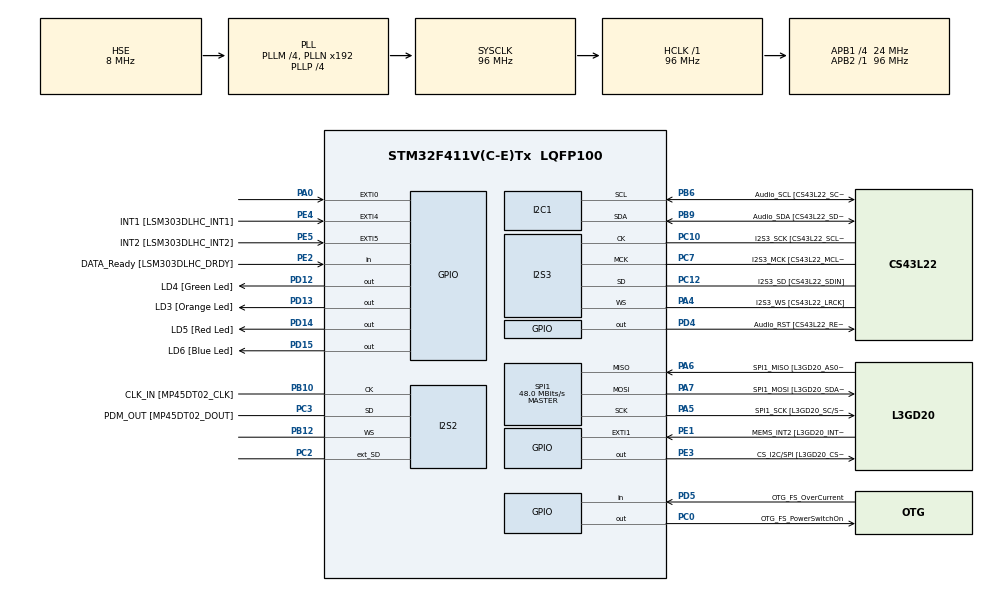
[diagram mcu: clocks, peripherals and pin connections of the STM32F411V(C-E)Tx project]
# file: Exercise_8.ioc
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FREERTOS.BinarySemaphores01=CriticalResourceSemaphore,Dynamic,NULL
FREERTOS.Tasks01=GreenLED_Task,0,128,Start_GreenLED_Task,Default,NULL,Dynamic,NULL,NULL;RedLED_Task,0,128,Start_RedLED_Task,Default,NULL,Dynamic,NULL,NULL;OrangeLED_Task,1,128,Start_OrangeLED_Task,Default,NULL,Dynamic,NULL,NULL
I2S2.AudioFreq=I2S_AUDIOFREQ_96K
I2S2.ErrorAudioFreq=0.15 %
I2S2.FullDuplexMode=I2S_FULLDUPLEXMODE_ENABLE
I2S2.Instance=SPI$Index
I2S2.RealAudioFreq=96.153 KHz
I2S2.VirtualMode=I2S_MODE_MASTER
I2S3.AudioFreq=I2S_AUDIOFREQ_96K
I2S3.ErrorAudioFreq=-6.99 %
I2S3.FullDuplexMode=I2S_FULLDUPLEXMODE_DISABLE
I2S3.Instance=SPI$Index
I2S3.RealAudioFreq=89.285 KHz
I2S3.VirtualMode=I2S_MODE_MASTER
Mcu.Family=STM32F4
Mcu.Name=STM32F411V(C-E)Tx
Mcu.Package=LQFP100
NVIC.PriorityGroup=NVIC_PRIORITYGROUP_4
NVIC.TIM1_UP_TIM10_IRQn=true\:0\:0\:false\:false\:true\:false\:false\:true
NVIC.TimeBase=TIM1_UP_TIM10_IRQn
NVIC.TimeBaseIP=TIM1
PA0-WKUP.GPIO_ModeDefaultEXTI=GPIO_MODE_EVT_RISING
PA0-WKUP.Signal=GPXTI0
PA10.GPIO_Label=OTG_FS_ID
PA10.Signal=USB_OTG_FS_ID
PA11.GPIO_Label=OTG_FS_DM
PA11.Signal=USB_OTG_FS_DM
PA12.GPIO_Label=OTG_FS_DP
PA12.Signal=USB_OTG_FS_DP
PA13.GPIO_Label=SWDIO
PA13.Mode=Serial_Wire
PA13.Signal=SYS_JTMS-SWDIO
PA14.GPIO_Label=SWCLK
PA14.Mode=Serial_Wire
PA14.Signal=SYS_JTCK-SWCLK
PA4.GPIO_Label=I2S3_WS [CS43L22_LRCK]
PA4.GPIO_Mode=GPIO_MODE_AF_PP
PA4.GPIO_PuPd=GPIO_NOPULL
PA4.GPIO_Speed=GPIO_SPEED_FREQ_LOW
PA4.Mode=Half_Duplex_Master
PA4.Signal=I2S3_WS
PA5.GPIO_Label=SPI1_SCK [L3GD20_SC/SPC]
PA5.Mode=Full_Duplex_Master
PA5.Signal=SPI1_SCK
PA6.GPIO_Label=SPI1_MISO [L3GD20_AS0/SDO]
PA6.Mode=Full_Duplex_Master
PA6.Signal=SPI1_MISO
PA7.GPIO_Label=SPI1_MOSI [L3GD20_SDA/SDI/SDO]
PA7.Mode=Full_Duplex_Master
PA7.Signal=SPI1_MOSI
PA9.GPIO_Label=VBUS_FS
PA9.Signal=USB_OTG_FS_VBUS
PB10.GPIO_Label=CLK_IN [MP45DT02_CLK]
PB10.Mode=Full_Duplex_Master
PB10.Signal=I2S2_CK
PB12.Mode=Full_Duplex_Master
PB12.Signal=I2S2_WS
PB3.GPIO_Label=SWO
PB3.Signal=SYS_JTDO-SWO
PB6.GPIO_Label=Audio_SCL [CS43L22_SCL]
PB6.GPIO_Mode=GPIO_MODE_AF_OD
PB6.GPIO_PuPd=GPIO_NOPULL
PB6.GPIO_Speed=GPIO_SPEED_FREQ_LOW
PB6.Mode=I2C
PB6.Signal=I2C1_SCL
PB9.GPIO_Label=Audio_SDA [CS43L22_SDA]
PB9.GPIO_Mode=GPIO_MODE_AF_OD
PB9.GPIO_PuPd=GPIO_NOPULL
PB9.GPIO_Speed=GPIO_SPEED_FREQ_LOW
PB9.Mode=I2C
PB9.Signal=I2C1_SDA
PC0.GPIO_Label=OTG_FS_PowerSwitchOn
PC0.PinState=GPIO_PIN_SET
PC0.Signal=GPIO_Output
PC10.GPIO_Label=I2S3_SCK [CS43L22_SCLK]
PC10.GPIO_Mode=GPIO_MODE_AF_PP
PC10.GPIO_PuPd=GPIO_NOPULL
PC10.GPIO_Speed=GPIO_SPEED_FREQ_LOW
PC10.Mode=Half_Duplex_Master
PC10.Signal=I2S3_CK
PC12.GPIO_Label=I2S3_SD [CS43L22_SDIN]
PC12.GPIO_Mode=GPIO_MODE_AF_PP
PC12.GPIO_PuPd=GPIO_NOPULL
PC12.GPIO_Speed=GPIO_SPEED_FREQ_LOW
PC12.Mode=Half_Duplex_Master
PC12.Signal=I2S3_SD
PC14-OSC32_IN.GPIO_Label=PC14-OSC32_IN
PC14-OSC32_IN.Mode=LSE-External-Oscillator
PC14-OSC32_IN.Signal=RCC_OSC32_IN
PC15-OSC32_OUT.GPIO_Label=PC15-OSC32_OUT
PC15-OSC32_OUT.Mode=LSE-External-Oscillator
PC15-OSC32_OUT.Signal=RCC_OSC32_OUT
PC2.Mode=Full_Duplex_Master
PC2.Signal=I2S2_ext_SD
PC3.GPIO_Label=PDM_OUT [MP45DT02_DOUT]
PC3.Mode=Full_Duplex_Master
PC3.Signal=I2S2_SD
PC7.GPIO_Label=I2S3_MCK [CS43L22_MCLK]
PC7.GPIO_Mode=GPIO_MODE_AF_PP
PC7.GPIO_PuPd=GPIO_NOPULL
PC7.GPIO_Speed=GPIO_SPEED_FREQ_LOW
PC7.Mode=Master_Clock_Activated
PC7.Signal=I2S3_MCK
PD12.GPIO_Label=LD4 [Green Led]
PD12.GPIO_PuPd=GPIO_NOPULL
PD12.GPIO_Speed=GPIO_SPEED_FREQ_LOW
PD12.Signal=GPIO_Output
PD13.GPIO_Label=LD3 [Orange Led]
PD13.GPIO_PuPd=GPIO_NOPULL
PD13.GPIO_Speed=GPIO_SPEED_FREQ_LOW
PD13.Signal=GPIO_Output
PD14.GPIO_Label=LD5 [Red Led]
PD14.GPIO_PuPd=GPIO_NOPULL
PD14.GPIO_Speed=GPIO_SPEED_FREQ_LOW
PD14.Signal=GPIO_Output
PD15.GPIO_Label=LD6 [Blue Led]
PD15.GPIO_PuPd=GPIO_NOPULL
PD15.GPIO_Speed=GPIO_SPEED_FREQ_LOW
PD15.Signal=GPIO_Output
PD4.GPIO_Label=Audio_RST [CS43L22_RESET]
PD4.Signal=GPIO_Output
PD5.GPIO_Label=OTG_FS_OverCurrent
PD5.Signal=GPIO_Input
PE1.GPIO_Label=MEMS_INT2 [L3GD20_INT2]
PE1.GPIO_ModeDefaultEXTI=GPIO_MODE_EVT_RISING
PE1.Signal=GPXTI1
PE2.GPIO_Label=DATA_Ready [LSM303DLHC_DRDY]
PE2.Signal=GPIO_Input
PE3.GPIO_Label=CS_I2C/SPI [L3GD20_CS_I2C/SPI]
PE3.Signal=GPIO_Output
PE4.GPIO_Label=INT1 [LSM303DLHC_INT1]
PE4.GPIO_ModeDefaultEXTI=GPIO_MODE_EVT_RISING
PE4.Signal=GPXTI4
PE5.GPIO_Label=INT2 [LSM303DLHC_INT2]
PE5.GPIO_ModeDefaultEXTI=GPIO_MODE_EVT_RISING
PE5.Signal=GPXTI5
PH0\ -\ OSC_IN.GPIO_Label=PH0-OSC_IN
PH0\ -\ OSC_IN.Mode=HSE-External-Clock-Source
PH0\ -\ OSC_IN.Signal=RCC_OSC_IN
PH1\ -\ OSC_OUT.GPIO_Label=PH1-OSC_OUT
PH1\ -\ OSC_OUT.Mode=HSE-External-Clock-Source
PH1\ -\ OSC_OUT.Signal=RCC_OSC_OUT
ProjectManager.HeapSize=0x200
ProjectManager.StackSize=0x400
ProjectManager.TargetToolchain=STM32CubeIDE
RCC.48MHZClocksFreq_Value=48000000
RCC.AHBFreq_Value=96000000
RCC.APB1CLKDivider=RCC_HCLK_DIV4
RCC.APB1Freq_Value=24000000
RCC.APB1TimFreq_Value=48000000
RCC.APB2Freq_Value=96000000
RCC.APB2TimFreq_Value=96000000
RCC.CortexFreq_Value=96000000
RCC.HCLKFreq_Value=96000000
RCC.HSE_VALUE=8000000
RCC.HSI_VALUE=16000000
RCC.PLLI2SM=5
RCC.PLLI2SN=200
RCC.PLLM=4
RCC.PLLP=RCC_PLLP_DIV4
RCC.PLLQ=8
RCC.PLLSourceVirtual=RCC_PLLSOURCE_HSE
RCC.SYSCLKFreq_VALUE=96000000
RCC.SYSCLKSource=RCC_SYSCLKSOURCE_PLLCLK
RCC.VCOOutputFreq_Value=384000000
SPI1.BaudRatePrescaler=SPI_BAUDRATEPRESCALER_2
SPI1.CalculateBaudRate=48.0 MBits/s
SPI1.Direction=SPI_DIRECTION_2LINES
SPI1.Mode=SPI_MODE_MASTER
SPI1.VirtualType=VM_MASTER
VP_FREERTOS_VS_CMSIS_V1.Mode=CMSIS_V1
VP_SYS_VS_tim1.Mode=TIM1
board=STM32F411E-DISCO

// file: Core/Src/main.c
/* USER CODE BEGIN Header */
/**
  ******************************************************************************
  * @file           : main.c
  * @brief          : Main program body
  ******************************************************************************
  * @attention
  *
  * <h2><center>&copy; Copyright (c) 2023 STMicroelectronics.
  * All rights reserved.</center></h2>
  *
  * This software component is licensed by ST under Ultimate Liberty license
  * SLA0044, the "License"; You may not use this file except in compliance with
  * the License. You may obtain a copy of the License at:
  *                             www.st.com/SLA0044
  *
  ******************************************************************************
  */
/* USER CODE END Header */

#include "main.h"
#include "cmsis_os.h"

/* USER CODE BEGIN PD */
#define green GPIO_PIN_12
#define orange GPIO_PIN_13
#define red GPIO_PIN_14
#define blue GPIO_PIN_15
/* USER CODE END PD */

I2C_HandleTypeDef hi2c1;

I2S_HandleTypeDef hi2s2;
I2S_HandleTypeDef hi2s3;

SPI_HandleTypeDef hspi1;

osThreadId GreenLED_TaskHandle;
osThreadId RedLED_TaskHandle;
osThreadId OrangeLED_TaskHandle;
osSemaphoreId CriticalResourceSemaphoreHandle;
/* USER CODE BEGIN PV */
int Start_Flag = 1;
/* USER CODE END PV */

void SystemClock_Config(void);
static void MX_GPIO_Init(void);
static void MX_I2C1_Init(void);
static void MX_I2S2_Init(void);
static void MX_I2S3_Init(void);
static void MX_SPI1_Init(void);
void Start_GreenLED_Task(void const * argument);
void Start_RedLED_Task(void const * argument);
void Start_OrangeLED_Task(void const * argument);

int main(void)
{

  /* MCU Configuration--------------------------------------------------------*/

  /* Reset of all peripherals, Initializes the Flash interface and the Systick. */
  HAL_Init();

  /* Configure the system clock */
  SystemClock_Config();

  /* Initialize all configured peripherals */
  MX_GPIO_Init();
  MX_I2C1_Init();
  MX_I2S2_Init();
  MX_I2S3_Init();
  MX_SPI1_Init();

  /* Create the semaphores(s) */
  /* definition and creation of CriticalResourceSemaphore */
  osSemaphoreDef(CriticalResourceSemaphore);
  CriticalResourceSemaphoreHandle = osSemaphoreCreate(osSemaphore(CriticalResourceSemaphore), 1);

  /* Create the thread(s) */
  /* definition and creation of GreenLED_Task */
  osThreadDef(GreenLED_Task, Start_GreenLED_Task, osPriorityNormal, 0, 128);
  GreenLED_TaskHandle = osThreadCreate(osThread(GreenLED_Task), NULL);

  /* definition and creation of RedLED_Task */
  osThreadDef(RedLED_Task, Start_RedLED_Task, osPriorityNormal, 0, 128);
  RedLED_TaskHandle = osThreadCreate(osThread(RedLED_Task), NULL);

  /* definition and creation of OrangeLED_Task */
  osThreadDef(OrangeLED_Task, Start_OrangeLED_Task, osPriorityAboveNormal, 0, 128);
  OrangeLED_TaskHandle = osThreadCreate(osThread(OrangeLED_Task), NULL);

  /* Start scheduler */
  osKernelStart();

  /* We should never get here as control is now taken by the scheduler */

  /* Infinite loop */
  while (1)
  {

  }
}

void SystemClock_Config(void)
{
  RCC_OscInitTypeDef RCC_OscInitStruct = {0};
  RCC_ClkInitTypeDef RCC_ClkInitStruct = {0};
  RCC_PeriphCLKInitTypeDef PeriphClkInitStruct = {0};

  /** Configure the main internal regulator output voltage
  */
  __HAL_RCC_PWR_CLK_ENABLE();
  __HAL_PWR_VOLTAGESCALING_CONFIG(PWR_REGULATOR_VOLTAGE_SCALE1);
  /** Initializes the CPU, AHB and APB busses clocks
  */
  RCC_OscInitStruct.OscillatorType = RCC_OSCILLATORTYPE_HSE;
  RCC_OscInitStruct.HSEState = RCC_HSE_BYPASS;
  RCC_OscInitStruct.PLL.PLLState = RCC_PLL_ON;
  RCC_OscInitStruct.PLL.PLLSource = RCC_PLLSOURCE_HSE;
  RCC_OscInitStruct.PLL.PLLM = 4;
  RCC_OscInitStruct.PLL.PLLN = 192;
  RCC_OscInitStruct.PLL.PLLP = RCC_PLLP_DIV4;
  RCC_OscInitStruct.PLL.PLLQ = 8;
  if (HAL_RCC_OscConfig(&RCC_OscInitStruct) != HAL_OK)
  {
    Error_Handler();
  }
  /** Initializes the CPU, AHB and APB busses clocks
  */
  RCC_ClkInitStruct.ClockType = RCC_CLOCKTYPE_HCLK|RCC_CLOCKTYPE_SYSCLK
                              |RCC_CLOCKTYPE_PCLK1|RCC_CLOCKTYPE_PCLK2;
  RCC_ClkInitStruct.SYSCLKSource = RCC_SYSCLKSOURCE_PLLCLK;
  RCC_ClkInitStruct.AHBCLKDivider = RCC_SYSCLK_DIV1;
  RCC_ClkInitStruct.APB1CLKDivider = RCC_HCLK_DIV4;
  RCC_ClkInitStruct.APB2CLKDivider = RCC_HCLK_DIV1;

  if (HAL_RCC_ClockConfig(&RCC_ClkInitStruct, FLASH_LATENCY_3) != HAL_OK)
  {
    Error_Handler();
  }
  PeriphClkInitStruct.PeriphClockSelection = RCC_PERIPHCLK_I2S;
  PeriphClkInitStruct.PLLI2S.PLLI2SN = 200;
  PeriphClkInitStruct.PLLI2S.PLLI2SM = 5;
  PeriphClkInitStruct.PLLI2S.PLLI2SR = 2;
  if (HAL_RCCEx_PeriphCLKConfig(&PeriphClkInitStruct) != HAL_OK)
  {
    Error_Handler();
  }
}

static void MX_I2C1_Init(void)
{

  hi2c1.Instance = I2C1;
  hi2c1.Init.ClockSpeed = 100000;
  hi2c1.Init.DutyCycle = I2C_DUTYCYCLE_2;
  hi2c1.Init.OwnAddress1 = 0;
  hi2c1.Init.AddressingMode = I2C_ADDRESSINGMODE_7BIT;
  hi2c1.Init.DualAddressMode = I2C_DUALADDRESS_DISABLE;
  hi2c1.Init.OwnAddress2 = 0;
  hi2c1.Init.GeneralCallMode = I2C_GENERALCALL_DISABLE;
  hi2c1.Init.NoStretchMode = I2C_NOSTRETCH_DISABLE;
  if (HAL_I2C_Init(&hi2c1) != HAL_OK)
  {
    Error_Handler();
  }

}

static void MX_I2S2_Init(void)
{

  hi2s2.Instance = SPI2;
  hi2s2.Init.Mode = I2S_MODE_MASTER_TX;
  hi2s2.Init.Standard = I2S_STANDARD_PHILIPS;
  hi2s2.Init.DataFormat = I2S_DATAFORMAT_16B;
  hi2s2.Init.MCLKOutput = I2S_MCLKOUTPUT_DISABLE;
  hi2s2.Init.AudioFreq = I2S_AUDIOFREQ_96K;
  hi2s2.Init.CPOL = I2S_CPOL_LOW;
  hi2s2.Init.ClockSource = I2S_CLOCK_PLL;
  hi2s2.Init.FullDuplexMode = I2S_FULLDUPLEXMODE_ENABLE;
  if (HAL_I2S_Init(&hi2s2) != HAL_OK)
  {
    Error_Handler();
  }

}

static void MX_I2S3_Init(void)
{

  hi2s3.Instance = SPI3;
  hi2s3.Init.Mode = I2S_MODE_MASTER_TX;
  hi2s3.Init.Standard = I2S_STANDARD_PHILIPS;
  hi2s3.Init.DataFormat = I2S_DATAFORMAT_16B;
  hi2s3.Init.MCLKOutput = I2S_MCLKOUTPUT_ENABLE;
  hi2s3.Init.AudioFreq = I2S_AUDIOFREQ_96K;
  hi2s3.Init.CPOL = I2S_CPOL_LOW;
  hi2s3.Init.ClockSource = I2S_CLOCK_PLL;
  hi2s3.Init.FullDuplexMode = I2S_FULLDUPLEXMODE_DISABLE;
  if (HAL_I2S_Init(&hi2s3) != HAL_OK)
  {
    Error_Handler();
  }

}

static void MX_SPI1_Init(void)
{

  /* SPI1 parameter configuration*/
  hspi1.Instance = SPI1;
  hspi1.Init.Mode = SPI_MODE_MASTER;
  hspi1.Init.Direction = SPI_DIRECTION_2LINES;
  hspi1.Init.DataSize = SPI_DATASIZE_8BIT;
  hspi1.Init.CLKPolarity = SPI_POLARITY_LOW;
  hspi1.Init.CLKPhase = SPI_PHASE_1EDGE;
  hspi1.Init.NSS = SPI_NSS_SOFT;
  hspi1.Init.BaudRatePrescaler = SPI_BAUDRATEPRESCALER_2;
  hspi1.Init.FirstBit = SPI_FIRSTBIT_MSB;
  hspi1.Init.TIMode = SPI_TIMODE_DISABLE;
  hspi1.Init.CRCCalculation = SPI_CRCCALCULATION_DISABLE;
  hspi1.Init.CRCPolynomial = 10;
  if (HAL_SPI_Init(&hspi1) != HAL_OK)
  {
    Error_Handler();
  }

}

static void MX_GPIO_Init(void)
{
  GPIO_InitTypeDef GPIO_InitStruct = {0};

  /* GPIO Ports Clock Enable */
  __HAL_RCC_GPIOE_CLK_ENABLE();
  __HAL_RCC_GPIOC_CLK_ENABLE();
  __HAL_RCC_GPIOH_CLK_ENABLE();
  __HAL_RCC_GPIOA_CLK_ENABLE();
  __HAL_RCC_GPIOB_CLK_ENABLE();
  __HAL_RCC_GPIOD_CLK_ENABLE();

  /*Configure GPIO pin Output Level */
  HAL_GPIO_WritePin(CS_I2C_SPI_GPIO_Port, CS_I2C_SPI_Pin, GPIO_PIN_RESET);

  /*Configure GPIO pin Output Level */
  HAL_GPIO_WritePin(OTG_FS_PowerSwitchOn_GPIO_Port, OTG_FS_PowerSwitchOn_Pin, GPIO_PIN_SET);

  /*Configure GPIO pin Output Level */
  HAL_GPIO_WritePin(GPIOD, LD4_Pin|LD3_Pin|LD5_Pin|LD6_Pin
                          |Audio_RST_Pin, GPIO_PIN_RESET);

  /*Configure GPIO pin : DATA_Ready_Pin */
  GPIO_InitStruct.Pin = DATA_Ready_Pin;
  GPIO_InitStruct.Mode = GPIO_MODE_INPUT;
  GPIO_InitStruct.Pull = GPIO_NOPULL;
  HAL_GPIO_Init(DATA_Ready_GPIO_Port, &GPIO_InitStruct);

  /*Configure GPIO pin : CS_I2C_SPI_Pin */
  GPIO_InitStruct.Pin = CS_I2C_SPI_Pin;
  GPIO_InitStruct.Mode = GPIO_MODE_OUTPUT_PP;
  GPIO_InitStruct.Pull = GPIO_NOPULL;
  GPIO_InitStruct.Speed = GPIO_SPEED_FREQ_LOW;
  HAL_GPIO_Init(CS_I2C_SPI_GPIO_Port, &GPIO_InitStruct);

  /*Configure GPIO pins : INT1_Pin INT2_Pin MEMS_INT2_Pin */
  GPIO_InitStruct.Pin = INT1_Pin|INT2_Pin|MEMS_INT2_Pin;
  GPIO_InitStruct.Mode = GPIO_MODE_EVT_RISING;
  GPIO_InitStruct.Pull = GPIO_NOPULL;
  HAL_GPIO_Init(GPIOE, &GPIO_InitStruct);

  /*Configure GPIO pin : OTG_FS_PowerSwitchOn_Pin */
  GPIO_InitStruct.Pin = OTG_FS_PowerSwitchOn_Pin;
  GPIO_InitStruct.Mode = GPIO_MODE_OUTPUT_PP;
  GPIO_InitStruct.Pull = GPIO_NOPULL;
  GPIO_InitStruct.Speed = GPIO_SPEED_FREQ_LOW;
  HAL_GPIO_Init(OTG_FS_PowerSwitchOn_GPIO_Port, &GPIO_InitStruct);

  /*Configure GPIO pin : PA0 */
  GPIO_InitStruct.Pin = GPIO_PIN_0;
  GPIO_InitStruct.Mode = GPIO_MODE_EVT_RISING;
  GPIO_InitStruct.Pull = GPIO_NOPULL;
  HAL_GPIO_Init(GPIOA, &GPIO_InitStruct);

  /*Configure GPIO pins : LD4_Pin LD3_Pin LD5_Pin LD6_Pin
                           Audio_RST_Pin */
  GPIO_InitStruct.Pin = LD4_Pin|LD3_Pin|LD5_Pin|LD6_Pin
                          |Audio_RST_Pin;
  GPIO_InitStruct.Mode = GPIO_MODE_OUTPUT_PP;
  GPIO_InitStruct.Pull = GPIO_NOPULL;
  GPIO_InitStruct.Speed = GPIO_SPEED_FREQ_LOW;
  HAL_GPIO_Init(GPIOD, &GPIO_InitStruct);

  /*Configure GPIO pin : VBUS_FS_Pin */
  GPIO_InitStruct.Pin = VBUS_FS_Pin;
  GPIO_InitStruct.Mode = GPIO_MODE_INPUT;
  GPIO_InitStruct.Pull = GPIO_NOPULL;
  HAL_GPIO_Init(VBUS_FS_GPIO_Port, &GPIO_InitStruct);

  /*Configure GPIO pins : OTG_FS_ID_Pin OTG_FS_DM_Pin OTG_FS_DP_Pin */
  GPIO_InitStruct.Pin = OTG_FS_ID_Pin|OTG_FS_DM_Pin|OTG_FS_DP_Pin;
  GPIO_InitStruct.Mode = GPIO_MODE_AF_PP;
  GPIO_InitStruct.Pull = GPIO_NOPULL;
  GPIO_InitStruct.Speed = GPIO_SPEED_FREQ_VERY_HIGH;
  GPIO_InitStruct.Alternate = GPIO_AF10_OTG_FS;
  HAL_GPIO_Init(GPIOA, &GPIO_InitStruct);

  /*Configure GPIO pin : OTG_FS_OverCurrent_Pin */
  GPIO_InitStruct.Pin = OTG_FS_OverCurrent_Pin;
  GPIO_InitStruct.Mode = GPIO_MODE_INPUT;
  GPIO_InitStruct.Pull = GPIO_NOPULL;
  HAL_GPIO_Init(OTG_FS_OverCurrent_GPIO_Port, &GPIO_InitStruct);

}

/* USER CODE BEGIN 4 */
void Access_Function()
{
	if (Start_Flag == 1)
	{
		Start_Flag = 0;
	}
	else
	{
		HAL_GPIO_TogglePin(GPIOD, blue);
	}
	for(int i = 0; i < 500000; i++);
	Start_Flag = 1;
}
/* USER CODE END 4 */

void Start_GreenLED_Task(void const * argument)
{
  /* USER CODE BEGIN 5 */
  /* Infinite loop */
  for(;;)
  {
	  HAL_GPIO_WritePin(GPIOD, green, GPIO_PIN_SET);
	  osSemaphoreWait(CriticalResourceSemaphoreHandle, 1000);// semaphore P (wait for 1000 ms)
	  Access_Function();
	  osSemaphoreRelease(CriticalResourceSemaphoreHandle);// semaphore V (resume)
	  vTaskDelay(200);
	  HAL_GPIO_WritePin(GPIOD, green, GPIO_PIN_RESET);
	  vTaskDelay(200);
  }
  /* USER CODE END 5 */
}

void Start_RedLED_Task(void const * argument)
{
  /* USER CODE BEGIN Start_RedLED_Task */
  /* Infinite loop */
  for(;;)
  {
	  HAL_GPIO_WritePin(GPIOD, red, GPIO_PIN_SET);
	  osSemaphoreWait(CriticalResourceSemaphoreHandle, 1000);// semaphore P (wait for 1000 ms)
	  Access_Function();
	  osSemaphoreRelease(CriticalResourceSemaphoreHandle);// semaphore V (resume)
	  vTaskDelay(550);
	  HAL_GPIO_WritePin(GPIOD, red, GPIO_PIN_RESET);
	  vTaskDelay(550);
  }
  /* USER CODE END Start_RedLED_Task */
}

void Start_OrangeLED_Task(void const * argument)
{
  /* USER CODE BEGIN Start_OrangeLED_Task */
  /* Infinite loop */
  for(;;)
  {
	  HAL_GPIO_TogglePin(GPIOD, orange);
	  vTaskDelay(50);
  }
  /* USER CODE END Start_OrangeLED_Task */
}

void HAL_TIM_PeriodElapsedCallback(TIM_HandleTypeDef *htim)
{
  if (htim->Instance == TIM1) {
    HAL_IncTick();
  }
}

void Error_Handler(void)
{
}

/************************ (C) COPYRIGHT STMicroelectronics *****END OF FILE****/
